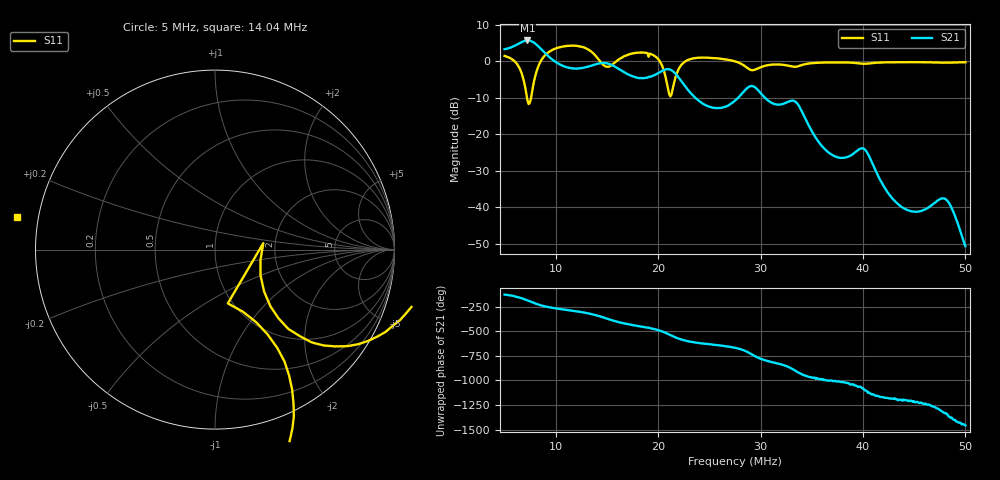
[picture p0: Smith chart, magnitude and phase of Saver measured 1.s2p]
# HZ S RI R 50
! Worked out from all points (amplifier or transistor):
!   404 points, 5 MHz to 50 MHz, reference 50 ohm
!   highest |S21| = 5.7 dB at 7.233 MHz (marker M1)
!   |S21| within 3 dB of that: start of sweep to 8.79 MHz
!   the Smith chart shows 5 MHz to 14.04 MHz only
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5000000  1.168 -0.2001  -0.8324 -1.21  0 0  0 0
6339956  0.6711 -0.5394  -1.536 -0.8091  0 0  0 0
7233260  0.2537 -0.1446  -1.926 0.1354  0 0  0 0
8573216  0.4392 -0.9315  -0.8399 1.204  0 0  0 0
1.058315e7  -0.1403 -1.576  0.0697 0.8767  0 0  0 0
1.259308e7  -1.03 -1.189  0.4646 0.6635  0 0  0 0
1.382138e7  -1.215 -0.0702  0.8007 0.4201  0 0  0 0
1.504967e7  -0.0325 0.8403  0.9172 -0.1831  0 0  0 0
1.605464e7  0.9266 0.4685  0.5823 -0.5493  0 0  0 0
1.717127e7  1.235 -0.1926  0.2355 -0.6074  0 0  0 0
1.873455e7  0.9912 -0.8552  -0.0794 -0.5865  0 0  0 0
2.00745e7  0.1803 -1.023  -0.4433 -0.539  0 0  0 0
2.096781e7  -0.3845 -0.1443  -0.7579 -0.1885  0 0  0 0
2.186111e7  0.412 0.5766  -0.5579 0.3029  0 0  0 0
2.353606e7  1.101 0.0878  -0.1019 0.3091  0 0  0 0
2.755593e7  0.892 -0.4374  0.1818 0.2305  0 0  0 0
3.001251e7  0.7819 -0.2762  0.1849 -0.3157  0 0  0 0
3.503735e7  0.7624 -0.5566  -0.0359 0.1022  0 0  0 0
4.017384e7  0.5536 -0.7428  0.0586 -0.021  0 0  0 0
4.251877e7  0.5005 -0.8295  -0.00301 -0.015  0 0  0 0
4.810192e7  0.3105 -0.9055  -0.00383 0.0122  0 0  0 0
5.000019e7  0.2291 -0.9433  0.0028 -0.000916  0 0  0 0
